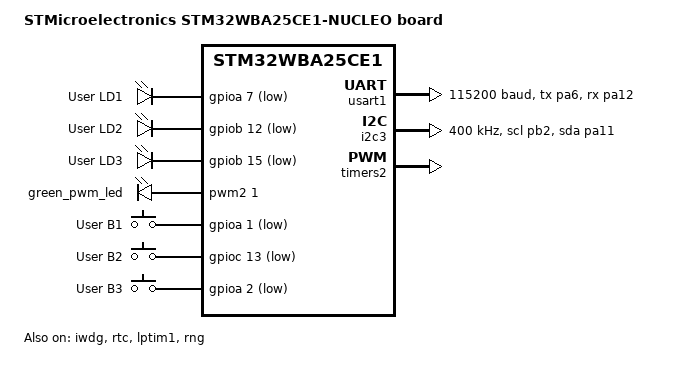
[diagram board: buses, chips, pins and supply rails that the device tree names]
/*
 * Copyright (c)  2026 STMicroelectronics
 *
 * SPDX-License-Identifier: Apache-2.0
 */

/dts-v1/;
#include <st/wba/stm32wba25Xe.dtsi>
#include <st/wba/stm32wba25ceux-pinctrl.dtsi>
#include "arduino_r3_connector.dtsi"
#include <zephyr/dt-bindings/input/input-event-codes.h>

/ {
	model = "STMicroelectronics STM32WBA25CE1-NUCLEO board";
	compatible = "st,stm32wba25ce1-nucleo";

	#address-cells = <1>;
	#size-cells = <1>;

	chosen {
		zephyr,uart-pipe = &usart1;
		zephyr,console = &usart1;
		zephyr,shell-uart = &usart1;
		zephyr,sram = &sram0;
		zephyr,flash = &flash0;
		zephyr,code-partition = &slot0_partition;
	};

	leds: leds {
		compatible = "gpio-leds";

		/* Pin muxing conflict with ADC4 */
		blue_led_1: led_0 {
			gpios = <&gpioa 7 GPIO_ACTIVE_LOW>;
			label = "User LD1";
		};

		green_led_2: led_1 {
			gpios = <&gpiob 12 GPIO_ACTIVE_LOW>;
			label = "User LD2";
		};

		red_led_3: led_2 {
			gpios = <&gpiob 15 GPIO_ACTIVE_LOW>;
			label = "User LD3";
		};
	};

	pwmleds: pwmleds {
		compatible = "pwm-leds";

		green_pwm_led: green_pwm_led {
			pwms = <&pwm2 1 PWM_MSEC(20) PWM_POLARITY_NORMAL>;
		};
	};

	gpio_keys {
		compatible = "gpio-keys";

		user_button_1: button_0 {
			label = "User B1";
			gpios = <&gpioa 1 (GPIO_ACTIVE_LOW | GPIO_PULL_UP)>;
			zephyr,code = <INPUT_KEY_0>;
		};

		user_button_2: button_1 {
			label = "User B2";
			gpios = <&gpioc 13 (GPIO_ACTIVE_LOW | GPIO_PULL_UP)>;
			zephyr,code = <INPUT_KEY_1>;
		};

		user_button_3: button_2 {
			label = "User B3";
			gpios = <&gpioa 2 (GPIO_ACTIVE_LOW | GPIO_PULL_UP)>;
			zephyr,code = <INPUT_KEY_2>;
		};
	};

	aliases {
		led0 = &blue_led_1;
		led1 = &green_led_2;
		led2 = &red_led_3;
		pwm-led0 = &green_pwm_led;
		sw0 = &user_button_1;
		sw1 = &user_button_2;
		sw2 = &user_button_3;
		mcuboot-led0 = &blue_led_1;
		mcuboot-button0 = &user_button_1;
		die-temp0 = &die_temp;
	};
};

&clk_lse {
	status = "okay";
};

&clk_hse {
	status = "okay";
};

&clk_hsi {
	status = "okay";
};

&rcc {
	clocks = <&clk_hse>;
	clock-frequency = <DT_FREQ_M(32)>; /* Lowest value to manage radio events */
	ahb-prescaler = <1>;
	ahb5-prescaler = <1>;
	apb1-prescaler = <1>;
	apb2-prescaler = <2>;
	apb7-prescaler = <1>;
};

&pwr {
	power-supply = "smps";
};

&iwdg {
	status = "okay";
};

&rtc {
	status = "okay";
	clocks = <&rcc STM32_CLOCK(APB7, 21)>,
		 <&rcc STM32_SRC_LSE RTC_SEL(1)>;
	prescaler = <32768>;
};

&usart1 {
	clocks = <&rcc STM32_CLOCK(APB2, 14)>,
		 <&rcc STM32_SRC_HSI16 USART1_SEL(2)>;
	pinctrl-0 = <&usart1_tx_pa6 &usart1_rx_pa12>;
	pinctrl-names = "default";
	current-speed = <115200>;
	status = "okay";
};

&spi3 {
	pinctrl-0 = <&spi3_nss_pa5 &spi3_sck_pa8
		     &spi3_miso_pa10 &spi3_mosi_pa9>;
	pinctrl-names = "default";
	status = "disabled";
};

&i2c3 {
	pinctrl-0 = <&i2c3_scl_pb2 &i2c3_sda_pa11>;
	pinctrl-names = "default";
	status = "okay";
	clock-frequency = <I2C_BITRATE_FAST>;
};

&adc4 {
	/* Pin muxing conflict with LED1, disabled by default */
	pinctrl-0 = <&adc4_in2_pa7>;
	pinctrl-names = "default";
	st,adc-clock-source = "ASYNC";
	st,adc-prescaler = <4>;
	status = "disabled";
};

&die_temp {
	/* keep disabled if adc4 is disabled */
	status = "disabled";
};

&timers2 {
	st,prescaler = <10000>;
	status = "okay";

	pwm2: pwm {
		status = "okay";
		pinctrl-0 = <&tim2_ch1_pb12>;
		pinctrl-names = "default";
	};
};

stm32_lp_tick_source: &lptim1 {
	clocks = <&rcc STM32_CLOCK(APB7, 11)>,
		 <&rcc STM32_SRC_LSE LPTIM1_SEL(3)>;
	status = "okay";
};

&rng {
	status = "okay";
};

&flash0 {
	partitions {
		compatible = "fixed-partitions";
		#address-cells = <1>;
		#size-cells = <1>;

		boot_partition: partition@0 {
			label = "mcuboot";
			reg = <0x00000000 DT_SIZE_K(64)>;
		};

		slot0_partition: partition@10000 {
			label = "image-0";
			reg = <0x00010000 DT_SIZE_K(192)>;
		};

		slot1_partition: partition@40000 {
			label = "image-1";
			reg = <0x00040000 DT_SIZE_K(192)>;
		};

		storage_partition: partition@70000 {
			label = "storage";
			reg = <0x00070000 DT_SIZE_K(64)>;
		};
	};
};
